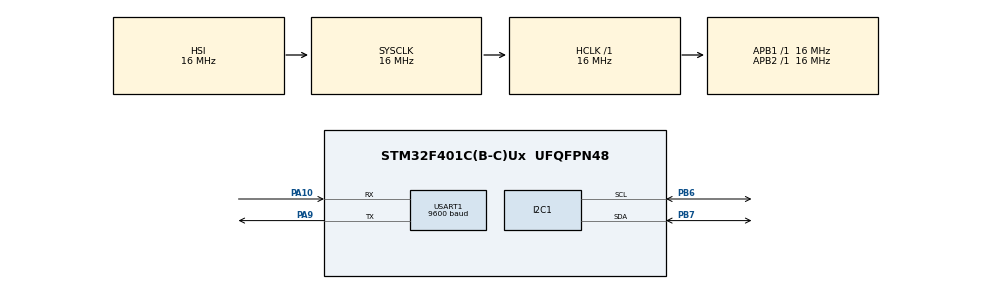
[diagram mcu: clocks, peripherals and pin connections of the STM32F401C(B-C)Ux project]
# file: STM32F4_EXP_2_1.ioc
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Mcu.Family=STM32F4
Mcu.Name=STM32F401C(B-C)Ux
Mcu.Package=UFQFPN48
NVIC.I2C1_ER_IRQn=true\:0\:0\:false\:false\:true\:true\:true\:true
NVIC.I2C1_EV_IRQn=true\:0\:0\:false\:false\:true\:true\:true\:true
NVIC.PriorityGroup=NVIC_PRIORITYGROUP_4
NVIC.USART1_IRQn=true\:0\:0\:false\:false\:true\:true\:true\:true
PA10.Mode=Asynchronous
PA10.Signal=USART1_RX
PA9.Mode=Asynchronous
PA9.Signal=USART1_TX
PB6.Mode=I2C
PB6.Signal=I2C1_SCL
PB7.Mode=I2C
PB7.Signal=I2C1_SDA
ProjectManager.HeapSize=0x200
ProjectManager.StackSize=0x400
ProjectManager.TargetToolchain=STM32CubeIDE
RCC.AHBFreq_Value=16000000
RCC.APB1Freq_Value=16000000
RCC.APB2Freq_Value=16000000
RCC.CortexFreq_Value=16000000
RCC.HSE_VALUE=25000000
RCC.HSI_VALUE=16000000
RCC.LSE_VALUE=32768
RCC.SYSCLKFreq_VALUE=16000000
RCC.VCOOutputFreq_Value=192000000
USART1.BaudRate=9600
USART1.VirtualMode=VM_ASYNC
board=custom

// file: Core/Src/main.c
/* USER CODE BEGIN Header */
/**
  ******************************************************************************
  * @file           : main.c
  * @brief          : Main program body
  ******************************************************************************
  * @attention
  *
  * Copyright (c) 2022 STMicroelectronics.
  * All rights reserved.
  *
  * This software is licensed under terms that can be found in the LICENSE file
  * in the root directory of this software component.
  * If no LICENSE file comes with this software, it is provided AS-IS.
  *
  ******************************************************************************
  */
/* USER CODE END Header */
#include "main.h"
#include "string.h"
#include "stdio.h"

 I2C_HandleTypeDef hi2c1;

UART_HandleTypeDef huart1;

/* USER CODE BEGIN PV */
uint8_t Buffer[25] = {0};
uint8_t Space[] = " - ";
uint8_t StartMSG[] = "Starting I2C Scanning: \r\n";
uint8_t EndMSG[] = "Done! \r\n\r\n";
/* USER CODE END PV */

void SystemClock_Config(void);
static void MX_GPIO_Init(void);
static void MX_I2C1_Init(void);
static void MX_USART1_UART_Init(void);

int main(void)
{

  /* MCU Configuration--------------------------------------------------------*/

  /* Reset of all peripherals, Initializes the Flash interface and the Systick. */
  HAL_Init();

  /* Configure the system clock */
  SystemClock_Config();

  /* Initialize all configured peripherals */
  MX_GPIO_Init();
  MX_I2C1_Init();
  MX_USART1_UART_Init();
  /* USER CODE BEGIN 2 */
  uint8_t i = 0, ret;
  HAL_Delay(1000);

  /*-[ I2C Bus Scanning ]-*/
  HAL_UART_Transmit(&huart1, StartMSG, sizeof(StartMSG), 1000);
  for(i=1; i<128; i++)
  {
  	ret = HAL_I2C_IsDeviceReady(&hi2c1, (uint16_t)(i<<1), 3, 5);
  	if (ret != HAL_OK) /* No ACK Received At That Address */
   	{
    	HAL_UART_Transmit(&huart1, Space, sizeof(Space), 1000);
    }
  	else if(ret == HAL_OK)
   	{
    	sprintf(Buffer, "0x%X", i);
    	HAL_UART_Transmit(&huart1, Buffer, sizeof(Buffer), 1000);
    }
  	if(i%8==0)HAL_UART_Transmit(&huart1, "\n\r", sizeof("\n\r"), 1000);
  }
  HAL_UART_Transmit(&huart1, EndMSG, sizeof(EndMSG), 1000);
  /*--[ Scanning Done ]--*/

  const char wmsg[] = "Some data\n\r";
  char rmsg[sizeof(wmsg)];
  //uint8_t str;
  // HAL expects address to be shifted one bit to the left
  uint16_t devAddr = 0x68;
  uint16_t memAddr = 0x0100;
  HAL_StatusTypeDef status;
  HAL_UART_Transmit(&huart1, "\n\rStart test!\n\r", sizeof("\n\rStart test!\n\r"),
		  1000);
  // Hint: try to comment this line
  status = HAL_I2C_Mem_Write(&hi2c1, devAddr, memAddr, I2C_MEMADD_SIZE_16BIT,
  	(uint8_t*)wmsg, sizeof(wmsg), 1000);

  //snprintf()
  /*HAL_UART_Transmit(&huart1, (uint8_t*)str, sizeof(str),
    		  1000);*/
  HAL_UART_Transmit(&huart1, "\n\rWrite\n\r", sizeof("\n\rWrite\n\r"),
		  1000);
  /*for(;;)
  { // wait...
	  status = HAL_I2C_IsDeviceReady(&hi2c1, devAddr, 1,
      	1000);
      if(status == HAL_OK) break;
  }*/

  status = HAL_I2C_Mem_Read(&hi2c1, devAddr, memAddr, I2C_MEMADD_SIZE_16BIT,
  	(uint8_t*)rmsg, sizeof(rmsg), 1000);

  /*HAL_UART_Transmit(&huart1, (uint8_t*)str, sizeof(str),
      		  1000);*/
  HAL_UART_Transmit(&huart1, "\n\rRead\n\r", sizeof("\n\rRead\n\r"),
		  1000);
  HAL_UART_Transmit(&huart1, (uint8_t*)wmsg, sizeof(wmsg),
  		  1000);
  HAL_UART_Transmit(&huart1, (uint8_t*)rmsg, sizeof(rmsg),
  		  1000);
  if(memcmp(rmsg, wmsg, sizeof(rmsg)) == 0)
  {
  	const char result[] = "Test passed!\r\n";
  	HAL_UART_Transmit(&huart1, (uint8_t*)result, sizeof(result)-1,
  			1000);
  } else {
  	const char result[] = "Test failed :(\r\n";
    HAL_UART_Transmit(&huart1, (uint8_t*)result, sizeof(result)-1,
    		1000);
  }
  /* USER CODE END 2 */

  /* Infinite loop */
  while (1)
  {

  }
}

void SystemClock_Config(void)
{
  RCC_OscInitTypeDef RCC_OscInitStruct = {0};
  RCC_ClkInitTypeDef RCC_ClkInitStruct = {0};

  /** Configure the main internal regulator output voltage
  */
  __HAL_RCC_PWR_CLK_ENABLE();
  __HAL_PWR_VOLTAGESCALING_CONFIG(PWR_REGULATOR_VOLTAGE_SCALE2);

  /** Initializes the RCC Oscillators according to the specified parameters
  * in the RCC_OscInitTypeDef structure.
  */
  RCC_OscInitStruct.OscillatorType = RCC_OSCILLATORTYPE_HSI;
  RCC_OscInitStruct.HSIState = RCC_HSI_ON;
  RCC_OscInitStruct.HSICalibrationValue = RCC_HSICALIBRATION_DEFAULT;
  RCC_OscInitStruct.PLL.PLLState = RCC_PLL_NONE;
  if (HAL_RCC_OscConfig(&RCC_OscInitStruct) != HAL_OK)
  {
    Error_Handler();
  }

  /** Initializes the CPU, AHB and APB buses clocks
  */
  RCC_ClkInitStruct.ClockType = RCC_CLOCKTYPE_HCLK|RCC_CLOCKTYPE_SYSCLK
                              |RCC_CLOCKTYPE_PCLK1|RCC_CLOCKTYPE_PCLK2;
  RCC_ClkInitStruct.SYSCLKSource = RCC_SYSCLKSOURCE_HSI;
  RCC_ClkInitStruct.AHBCLKDivider = RCC_SYSCLK_DIV1;
  RCC_ClkInitStruct.APB1CLKDivider = RCC_HCLK_DIV1;
  RCC_ClkInitStruct.APB2CLKDivider = RCC_HCLK_DIV1;

  if (HAL_RCC_ClockConfig(&RCC_ClkInitStruct, FLASH_LATENCY_0) != HAL_OK)
  {
    Error_Handler();
  }
}

static void MX_I2C1_Init(void)
{

  hi2c1.Instance = I2C1;
  hi2c1.Init.ClockSpeed = 100000;
  hi2c1.Init.DutyCycle = I2C_DUTYCYCLE_2;
  hi2c1.Init.OwnAddress1 = 0;
  hi2c1.Init.AddressingMode = I2C_ADDRESSINGMODE_7BIT;
  hi2c1.Init.DualAddressMode = I2C_DUALADDRESS_DISABLE;
  hi2c1.Init.OwnAddress2 = 0;
  hi2c1.Init.GeneralCallMode = I2C_GENERALCALL_DISABLE;
  hi2c1.Init.NoStretchMode = I2C_NOSTRETCH_DISABLE;
  if (HAL_I2C_Init(&hi2c1) != HAL_OK)
  {
    Error_Handler();
  }

}

static void MX_USART1_UART_Init(void)
{

  huart1.Instance = USART1;
  huart1.Init.BaudRate = 9600;
  huart1.Init.WordLength = UART_WORDLENGTH_8B;
  huart1.Init.StopBits = UART_STOPBITS_1;
  huart1.Init.Parity = UART_PARITY_NONE;
  huart1.Init.Mode = UART_MODE_TX_RX;
  huart1.Init.HwFlowCtl = UART_HWCONTROL_NONE;
  huart1.Init.OverSampling = UART_OVERSAMPLING_16;
  if (HAL_UART_Init(&huart1) != HAL_OK)
  {
    Error_Handler();
  }

}

static void MX_GPIO_Init(void)
{

  /* GPIO Ports Clock Enable */
  __HAL_RCC_GPIOA_CLK_ENABLE();
  __HAL_RCC_GPIOB_CLK_ENABLE();

}

void Error_Handler(void)
{
  __disable_irq();
  while (1)
  {
  }
}
